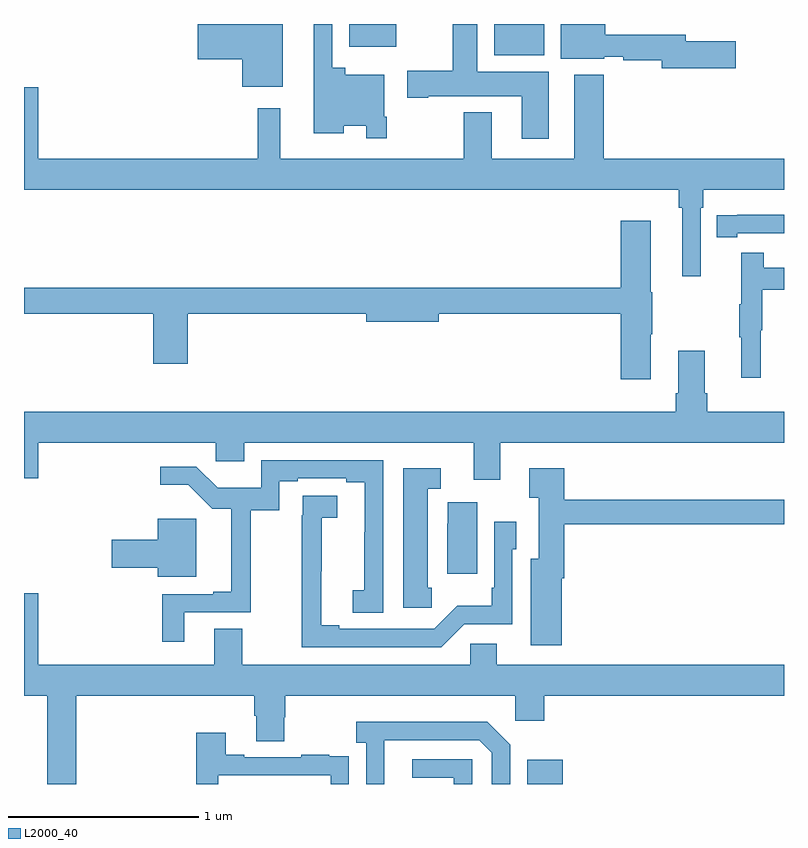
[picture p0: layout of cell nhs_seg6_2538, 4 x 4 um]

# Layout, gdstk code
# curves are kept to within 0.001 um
import gdstk
lib = gdstk.Library(unit=1e-6, precision=1e-09)
def R(c, l, rs):  # rectangles x0, y0, x1, y1
    for r in rs: c.add(gdstk.rectangle(r[:2], r[2:], *l))
def P(c, l, *ps):  # polygons
    for p in ps: c.add(gdstk.Polygon(p, *l))
L2000_40 = (2000, 40)

nhs_seg6_2538 = lib.new_cell('nhs_seg6_2538')
R(nhs_seg6_2538, L2000_40, [(263.648,985.5,263.835,985.627), (263.474,989.336,263.737,989.5), (262.712,989.381,262.96,989.5)])
P(nhs_seg6_2538, L2000_40, [(262.363,989.5),(261.914,989.5),(261.914,989.315),(262.148,989.315),(262.148,989.171),(262.363,989.171)],
  [(262.909,989.011),(262.896,989.011),(262.896,989.233),(262.692,989.233),(262.692,989.269),(262.623,989.269),(262.623,989.5),(262.526,989.5),(262.526,988.925),(262.684,988.925),(262.684,988.964),(262.8,988.964),(262.8,988.899),(262.909,988.899)],
  [(264.745,989.408),(264.484,989.408),(264.484,989.444),(264.058,989.444),(264.058,989.5),(263.825,989.5),(263.825,989.318),(264.054,989.318),(264.054,989.328),(264.154,989.328),(264.154,989.308),(264.356,989.308),(264.356,989.266),(264.745,989.266)],
  [(263.761,989.248),(263.386,989.248),(263.386,989.5),(263.257,989.5),(263.257,989.255),(263.016,989.255),(263.016,989.113),(263.128,989.113),(263.128,989.12),(263.621,989.12),(263.621,988.896),(263.761,988.896)],
  [(264.561,988.532),(264.575,988.532),(264.575,988.628),(265,988.628),(265,988.792),(264.05,988.792),(264.05,989.233),(263.897,989.233),(263.897,988.792),(263.461,988.792),(263.461,989.035),(263.314,989.035),(263.314,988.792),(262.348,988.792),(262.348,989.056),(262.231,989.056),(262.231,988.792),(261.076,988.792),(261.076,989.167),(261,989.167),(261,988.628),(264.445,988.628),(264.445,988.532),(264.464,988.532),(264.464,988.173),(264.561,988.173)],
  [(264.754,988.398),(265,988.398),(265,988.495),(264.754,988.495),(264.754,988.494),(264.646,988.494),(264.646,988.378),(264.754,988.378)],
  [(264.298,987.868),(264.306,987.868),(264.306,988.089),(264.298,988.089),(264.298,988.465),(264.14,988.465),(264.14,988.112),(261,988.112),(261,987.976),(261.68,987.976),(261.68,987.711),(261.863,987.711),(261.863,987.976),(262.802,987.976),(262.802,987.934),(263.182,987.934),(263.182,987.976),(264.14,987.976),(264.14,987.63),(264.298,987.63)],
  [(264.878,987.888),(264.886,987.888),(264.886,988.102),(265,988.102),(265,988.218),(264.893,988.218),(264.893,988.297),(264.776,988.297),(264.776,988.025),(264.765,988.025),(264.765,987.851),(264.776,987.851),(264.776,987.639),(264.878,987.639)],
  [(263.506,987.296),(265,987.296),(265,987.46),(264.596,987.46),(264.596,987.556),(264.583,987.556),(264.583,987.781),(264.443,987.781),(264.443,987.556),(264.431,987.556),(264.431,987.46),(261,987.46),(261,987.108),(261.076,987.108),(261.076,987.296),(262.008,987.296),(262.008,987.198),(262.159,987.198),(262.159,987.296),(263.366,987.296),(263.366,987.102),(263.506,987.102)],
  [(261.844,986.403),(262.193,986.403),(262.193,986.941),(262.344,986.941),(262.344,987.094),(262.441,987.094),(262.441,987.108),(262.697,987.108),(262.697,987.088),(262.793,987.088),(262.792,986.521),(262.731,986.521),(262.731,986.401),(262.89,986.401),(262.89,987.204),(262.248,987.204),(262.248,987.058),(262.019,987.058),(261.906,987.171),(261.717,987.171),(261.717,987.074),(261.865,987.074),(261.991,986.949),(262.091,986.949),(262.091,986.512),(261.995,986.512),(261.995,986.499),(261.727,986.499),(261.727,986.25),(261.844,986.25)],
  [(263.147,986.532),(263.125,986.532),(263.125,987.055),(263.194,987.055),(263.194,987.163),(262.997,987.163),(262.997,986.427),(263.147,986.427)],
  [(263.83,986.582),(263.843,986.582),(263.843,986.866),(265,986.866),(265,986.995),(263.843,986.995),(263.843,987.163),(263.658,987.163),(263.658,987.007),(263.708,987.007),(263.708,986.686),(263.666,986.686),(263.666,986.229),(263.83,986.229)],
  [(263.316,986.34),(263.571,986.34),(263.571,986.736),(263.592,986.736),(263.592,986.881),(263.475,986.881),(263.475,986.533),(263.463,986.533),(263.463,986.437),(263.281,986.437),(263.16,986.316),(262.66,986.316),(262.66,986.336),(262.564,986.336),(262.566,986.902),(262.648,986.902),(262.648,987.017),(262.468,987.017),(262.468,986.915),(262.462,986.915),(262.462,986.22),(263.196,986.22)],
  [(263.386,986.983),(263.23,986.983),(263.23,986.87),(263.228,986.87),(263.228,986.607),(263.386,986.607)],
  [(261.907,986.896),(261.704,986.896),(261.704,986.786),(261.462,986.786),(261.462,986.639),(261.704,986.639),(261.704,986.591),(261.907,986.591)],
  [(262.149,986.318),(262.001,986.318),(262.001,986.128),(261.076,986.128),(261.076,986.503),(261,986.503),(261,985.964),(261.122,985.964),(261.122,985.5),(261.275,985.5),(261.275,985.964),(262.211,985.964),(262.211,985.858),(262.223,985.858),(262.223,985.726),(262.371,985.726),(262.371,985.851),(262.376,985.851),(262.376,985.964),(263.586,985.964),(263.586,985.833),(263.738,985.833),(263.738,985.964),(265,985.964),(265,986.128),(263.488,986.128),(263.488,986.238),(263.349,986.238),(263.349,986.128),(262.149,986.128)],
  [(262.896,985.531),(262.897,985.731),(263.397,985.731),(263.463,985.665),(263.463,985.5),(263.559,985.5),(263.559,985.707),(263.438,985.828),(262.749,985.828),(262.749,985.718),(262.8,985.718),(262.8,985.5),(262.896,985.5)],
  [(262.023,985.545),(262.614,985.545),(262.614,985.5),(262.71,985.5),(262.71,985.538),(262.709,985.538),(262.709,985.647),(262.607,985.647),(262.607,985.654),(262.459,985.654),(262.459,985.641),(262.159,985.641),(262.159,985.654),(262.063,985.654),(262.063,985.771),(261.907,985.771),(261.907,985.5),(262.023,985.5)],
  [(263.358,985.629),(263.043,985.629),(263.043,985.533),(263.262,985.533),(263.262,985.5),(263.358,985.5)])

lib.write_gds('nhs_seg6_2538.gds')
